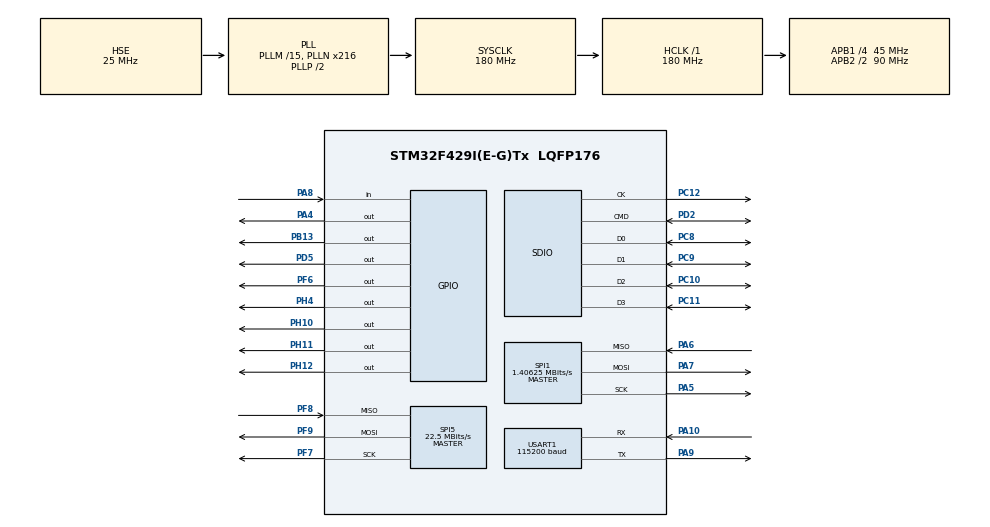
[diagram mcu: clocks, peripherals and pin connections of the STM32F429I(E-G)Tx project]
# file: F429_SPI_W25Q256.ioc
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Dma.Request0=SDIO_RX
Dma.Request1=SDIO_TX
Dma.SDIO_RX.0.Direction=DMA_PERIPH_TO_MEMORY
Dma.SDIO_RX.0.FIFOMode=DMA_FIFOMODE_ENABLE
Dma.SDIO_RX.0.FIFOThreshold=DMA_FIFO_THRESHOLD_FULL
Dma.SDIO_RX.0.Instance=DMA2_Stream3
Dma.SDIO_RX.0.MemBurst=DMA_MBURST_INC4
Dma.SDIO_RX.0.MemDataAlignment=DMA_MDATAALIGN_WORD
Dma.SDIO_RX.0.MemInc=DMA_MINC_ENABLE
Dma.SDIO_RX.0.Mode=DMA_PFCTRL
Dma.SDIO_RX.0.PeriphBurst=DMA_PBURST_INC4
Dma.SDIO_RX.0.PeriphDataAlignment=DMA_PDATAALIGN_WORD
Dma.SDIO_RX.0.PeriphInc=DMA_PINC_DISABLE
Dma.SDIO_RX.0.Priority=DMA_PRIORITY_LOW
Dma.SDIO_TX.1.Direction=DMA_MEMORY_TO_PERIPH
Dma.SDIO_TX.1.FIFOMode=DMA_FIFOMODE_ENABLE
Dma.SDIO_TX.1.FIFOThreshold=DMA_FIFO_THRESHOLD_FULL
Dma.SDIO_TX.1.Instance=DMA2_Stream6
Dma.SDIO_TX.1.MemBurst=DMA_MBURST_INC4
Dma.SDIO_TX.1.MemDataAlignment=DMA_MDATAALIGN_WORD
Dma.SDIO_TX.1.MemInc=DMA_MINC_ENABLE
Dma.SDIO_TX.1.Mode=DMA_PFCTRL
Dma.SDIO_TX.1.PeriphBurst=DMA_PBURST_INC4
Dma.SDIO_TX.1.PeriphDataAlignment=DMA_PDATAALIGN_WORD
Dma.SDIO_TX.1.PeriphInc=DMA_PINC_DISABLE
Dma.SDIO_TX.1.Priority=DMA_PRIORITY_LOW
FATFS.BSP.number=1
FATFS.USE_DMA_CODE_SD=1
FATFS._CODE_PAGE=936
FATFS._MAX_SS=4096
FATFS._USE_LFN=2
FATFS._VOLUMES=2
FATFS0.BSP.STBoard=false
FATFS0.BSP.api=Unknown
FATFS0.BSP.i2caddr=0
FATFS0.BSP.instance=PA8
FATFS0.BSP.ip=GPIO
FATFS0.BSP.mode=Input
FATFS0.BSP.name=Detect_SDIO
FATFS0.BSP.solution=PA8
Mcu.Family=STM32F4
Mcu.Name=STM32F429I(E-G)Tx
Mcu.Package=LQFP176
NVIC.DMA2_Stream3_IRQn=true\:0\:0\:false\:false\:true\:false\:true
NVIC.DMA2_Stream6_IRQn=true\:0\:0\:false\:false\:true\:false\:true
NVIC.PriorityGroup=NVIC_PRIORITYGROUP_4
NVIC.TIM7_IRQn=true\:0\:0\:false\:false\:true\:false\:true
NVIC.TimeBase=TIM7_IRQn
NVIC.TimeBaseIP=TIM7
PA10.Mode=Asynchronous
PA10.Signal=USART1_RX
PA13.Mode=Serial_Wire
PA13.Signal=SYS_JTMS-SWDIO
PA14.Mode=Serial_Wire
PA14.Signal=SYS_JTCK-SWCLK
PA4.Signal=GPIO_Output
PA5.Mode=Full_Duplex_Master
PA5.Signal=SPI1_SCK
PA6.Mode=Full_Duplex_Master
PA6.Signal=SPI1_MISO
PA7.Mode=Full_Duplex_Master
PA7.Signal=SPI1_MOSI
PA8.Signal=GPIO_Input
PA9.Mode=Asynchronous
PA9.Signal=USART1_TX
PB13.Signal=GPIO_Output
PC10.Mode=SD_4_bits_Wide_bus
PC10.Signal=SDIO_D2
PC11.Mode=SD_4_bits_Wide_bus
PC11.Signal=SDIO_D3
PC12.Mode=SD_4_bits_Wide_bus
PC12.Signal=SDIO_CK
PC14/OSC32_IN.Mode=LSE-External-Oscillator
PC14/OSC32_IN.Signal=RCC_OSC32_IN
PC15/OSC32_OUT.Mode=LSE-External-Oscillator
PC15/OSC32_OUT.Signal=RCC_OSC32_OUT
PC8.Mode=SD_4_bits_Wide_bus
PC8.Signal=SDIO_D0
PC9.Mode=SD_4_bits_Wide_bus
PC9.Signal=SDIO_D1
PD2.Mode=SD_4_bits_Wide_bus
PD2.Signal=SDIO_CMD
PD5.Signal=GPIO_Output
PF6.GPIO_PuPd=GPIO_PULLUP
PF6.GPIO_Speed=GPIO_SPEED_FREQ_HIGH
PF6.PinState=GPIO_PIN_SET
PF6.Signal=GPIO_Output
PF7.GPIO_PuPd=GPIO_PULLUP
PF7.Mode=Full_Duplex_Master
PF7.Signal=SPI5_SCK
PF8.GPIO_PuPd=GPIO_PULLUP
PF8.Mode=Full_Duplex_Master
PF8.Signal=SPI5_MISO
PF9.GPIO_PuPd=GPIO_PULLUP
PF9.Mode=Full_Duplex_Master
PF9.Signal=SPI5_MOSI
PH0/OSC_IN.Mode=HSE-External-Oscillator
PH0/OSC_IN.Signal=RCC_OSC_IN
PH1/OSC_OUT.Mode=HSE-External-Oscillator
PH1/OSC_OUT.Signal=RCC_OSC_OUT
PH10.GPIO_ModeDefaultOutputPP=GPIO_MODE_OUTPUT_OD
PH10.GPIO_PuPd=GPIO_PULLUP
PH10.GPIO_Speed=GPIO_SPEED_FREQ_LOW
PH10.Signal=GPIO_Output
PH11.GPIO_ModeDefaultOutputPP=GPIO_MODE_OUTPUT_OD
PH11.GPIO_PuPd=GPIO_PULLUP
PH11.Signal=GPIO_Output
PH12.GPIO_ModeDefaultOutputPP=GPIO_MODE_OUTPUT_OD
PH12.GPIO_PuPd=GPIO_PULLUP
PH12.Signal=GPIO_Output
PH4.Signal=GPIO_Output
ProjectManager.HeapSize=0x2000
ProjectManager.StackSize=0x1000
ProjectManager.TargetToolchain=MDK-ARM V5
RCC.48MHZClocksFreq_Value=45000000
RCC.AHBFreq_Value=180000000
RCC.APB1CLKDivider=RCC_HCLK_DIV4
RCC.APB1Freq_Value=45000000
RCC.APB1TimFreq_Value=90000000
RCC.APB2CLKDivider=RCC_HCLK_DIV2
RCC.APB2Freq_Value=90000000
RCC.APB2TimFreq_Value=180000000
RCC.CortexFreq_Value=180000000
RCC.HCLKFreq_Value=180000000
RCC.HSE_VALUE=25000000
RCC.HSI_VALUE=16000000
RCC.PLLM=15
RCC.PLLN=216
RCC.PLLQ=8
RCC.PLLSAIN=115
RCC.PLLSAIR=5
RCC.PLLSourceVirtual=RCC_PLLSOURCE_HSE
RCC.SYSCLKFreq_VALUE=180000000
RCC.SYSCLKSource=RCC_SYSCLKSOURCE_PLLCLK
RCC.VCOOutputFreq_Value=360000000
SPI1.BaudRatePrescaler=SPI_BAUDRATEPRESCALER_64
SPI1.CLKPhase=SPI_PHASE_2EDGE
SPI1.CLKPolarity=SPI_POLARITY_HIGH
SPI1.CalculateBaudRate=1.40625 MBits/s
SPI1.Direction=SPI_DIRECTION_2LINES
SPI1.Mode=SPI_MODE_MASTER
SPI1.VirtualType=VM_MASTER
SPI5.BaudRatePrescaler=SPI_BAUDRATEPRESCALER_4
SPI5.CLKPhase=SPI_PHASE_2EDGE
SPI5.CLKPolarity=SPI_POLARITY_HIGH
SPI5.CalculateBaudRate=22.5 MBits/s
SPI5.Direction=SPI_DIRECTION_2LINES
SPI5.Mode=SPI_MODE_MASTER
SPI5.VirtualType=VM_MASTER
USART1.BaudRate=115200
USART1.VirtualMode=VM_ASYNC
VP_FATFS_VS_SDIO.Mode=SDIO
VP_SYS_VS_tim7.Mode=TIM7
board=custom

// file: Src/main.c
/* USER CODE BEGIN Header */
/**
  ******************************************************************************
  * @file           : main.c
  * @brief          : Main program body
  ******************************************************************************
  * @attention
  *
  * <h2><center>&copy; Copyright (c) 2021 STMicroelectronics.
  * All rights reserved.</center></h2>
  *
  * This software component is licensed by ST under BSD 3-Clause license,
  * the "License"; You may not use this file except in compliance with the
  * License. You may obtain a copy of the License at:
  *                        opensource.org/licenses/BSD-3-Clause
  *
  ******************************************************************************
  */
#define  _PRINTF_OPEN
/* USER CODE END Header */

#include "main.h"
#include "dma.h"
#include "fatfs.h"
#include "sdio.h"
#include "spi.h"
#include "usart.h"
#include "gpio.h"

/* USER CODE BEGIN PV */
/* Flash Write==== */
#define FILE_NAME           "1.HTT"           //"All_8889_Pic_NOR.bin"
//"1.HTT"
//"1.txt"
//"NOR.bin"
#define WRITE_DATA_ADDRESS   0
/* =============== */
/* Flash Read==== */
#define READ_DATA_ADDRESS   0
#define READ_DATA_NUMBER    100
/* ======== */

uint8_t usbFlag=0;
uint32_t address = 0;
/* USER CODE END PV */

void SystemClock_Config(void);
/* USER CODE BEGIN PFP */
uint32_t FileCopy_SD_To_Flash(char * File_Name, u32 WriteDataAddress);
void Flash_ReadData(uint32_t ReadAddress,uint32_t ReadNum);
void Flash_ChipErase(void);
/* USER CODE END PFP */

int main(void)
{

  /* MCU Configuration--------------------------------------------------------*/

  /* Reset of all peripherals, Initializes the Flash interface and the Systick. */
  HAL_Init();

  /* Configure the system clock */
  SystemClock_Config();

  /* Initialize all configured peripherals */
  MX_GPIO_Init();
  MX_DMA_Init();
  MX_USART1_UART_Init();
  MX_SPI5_Init();
  MX_SDIO_SD_Init();
  MX_FATFS_Init();
  MX_SPI1_Init();
  /* USER CODE BEGIN 2 */
    //启用野火板F429的SDIO为SD_Card模式
    SD_Card_Model();

    HOLD_AND_WD_PULLUP;

    led_white;

    user_printf("W25Q256 Flash测试开始...");

    W25QXX_Init();

    user_printf("id = 0x%X",W25Qxx_Type);
    user_printf("请按 KEY1 进行SD卡到Flash的复制");
    user_printf("请按 KEY2 进行Flash里数据的读取");
    user_printf("请按 KEY1 + KEY2 进行Flash全片擦除");

  /* USER CODE END 2 */

  /* Infinite loop */
    while (1)
    {

    /* USER CODE BEGIN 3 */
        if (HAL_GPIO_ReadPin(GPIOA, GPIO_PIN_0) == GPIO_PIN_SET)
        {
            for(;;)
            {
                if(HAL_GPIO_ReadPin(GPIOA, GPIO_PIN_0) == GPIO_PIN_RESET)
                {
                    usbFlag = 1;
                    break;
                }
                if(HAL_GPIO_ReadPin(GPIOC, GPIO_PIN_13) == GPIO_PIN_SET)
                {
                    for(;;)
                    {
                        if((HAL_GPIO_ReadPin(GPIOA, GPIO_PIN_0) == GPIO_PIN_RESET) && (HAL_GPIO_ReadPin(GPIOC, GPIO_PIN_13) == GPIO_PIN_RESET))
                        {
                            usbFlag = 3;
                            break;
                        }
                    }
                    break;
                }
            }
        }
        else if(HAL_GPIO_ReadPin(GPIOC, GPIO_PIN_13) == GPIO_PIN_SET)
        {
            for(;;)
            {
                if(HAL_GPIO_ReadPin(GPIOC, GPIO_PIN_13) == GPIO_PIN_RESET)
                {
                    usbFlag = 2;
                    break;
                }
                if(HAL_GPIO_ReadPin(GPIOA, GPIO_PIN_0) == GPIO_PIN_SET)
                {
                    for(;;)
                    {
                        if((HAL_GPIO_ReadPin(GPIOA, GPIO_PIN_0) == GPIO_PIN_RESET) && (HAL_GPIO_ReadPin(GPIOC, GPIO_PIN_13) == GPIO_PIN_RESET))
                        {
                            usbFlag = 3;
                            break;
                        }
                    }
                    break;
                }
            }
        }
        if(usbFlag == 1)
        {
            led_blue;
            address = FileCopy_SD_To_Flash(FILE_NAME,WRITE_DATA_ADDRESS);
            if(address == 0)
            {
                led_red;
            }
            else
            {
                led_green;
            }

            usbFlag = 0;
        }
        if(usbFlag == 2)
        {
            led_blue;
            Flash_ReadData(READ_DATA_ADDRESS,READ_DATA_NUMBER);
            led_green;
            usbFlag = 0;
        }
        if(usbFlag == 3)
        {
            led_blue;
            Flash_ChipErase();
            led_green;
            usbFlag = 0;
        }
    }
  /* USER CODE END 3 */
}

void SystemClock_Config(void)
{
  RCC_OscInitTypeDef RCC_OscInitStruct = {0};
  RCC_ClkInitTypeDef RCC_ClkInitStruct = {0};

  /** Configure the main internal regulator output voltage
  */
  __HAL_RCC_PWR_CLK_ENABLE();
  __HAL_PWR_VOLTAGESCALING_CONFIG(PWR_REGULATOR_VOLTAGE_SCALE1);
  /** Initializes the CPU, AHB and APB busses clocks
  */
  RCC_OscInitStruct.OscillatorType = RCC_OSCILLATORTYPE_HSE;
  RCC_OscInitStruct.HSEState = RCC_HSE_ON;
  RCC_OscInitStruct.PLL.PLLState = RCC_PLL_ON;
  RCC_OscInitStruct.PLL.PLLSource = RCC_PLLSOURCE_HSE;
  RCC_OscInitStruct.PLL.PLLM = 15;
  RCC_OscInitStruct.PLL.PLLN = 216;
  RCC_OscInitStruct.PLL.PLLP = RCC_PLLP_DIV2;
  RCC_OscInitStruct.PLL.PLLQ = 8;
  if (HAL_RCC_OscConfig(&RCC_OscInitStruct) != HAL_OK)
  {
    Error_Handler();
  }
  /** Activate the Over-Drive mode
  */
  if (HAL_PWREx_EnableOverDrive() != HAL_OK)
  {
    Error_Handler();
  }
  /** Initializes the CPU, AHB and APB busses clocks
  */
  RCC_ClkInitStruct.ClockType = RCC_CLOCKTYPE_HCLK|RCC_CLOCKTYPE_SYSCLK
                              |RCC_CLOCKTYPE_PCLK1|RCC_CLOCKTYPE_PCLK2;
  RCC_ClkInitStruct.SYSCLKSource = RCC_SYSCLKSOURCE_PLLCLK;
  RCC_ClkInitStruct.AHBCLKDivider = RCC_SYSCLK_DIV1;
  RCC_ClkInitStruct.APB1CLKDivider = RCC_HCLK_DIV4;
  RCC_ClkInitStruct.APB2CLKDivider = RCC_HCLK_DIV2;

  if (HAL_RCC_ClockConfig(&RCC_ClkInitStruct, FLASH_LATENCY_5) != HAL_OK)
  {
    Error_Handler();
  }
}

/* USER CODE BEGIN 4 */
/**
 * 函数名称: FileCopy_SD_To_Flash
 * 功能描述: 从SD卡中复制一个文件到Flash中，本函数带校验
 * 参数说明: File_Name: [输入] 要复制的文件名（全名），要带文件格式 例：XXXX.XXX
 * 返回说明: 0:错误，other:为Flash已经用了的地址
 *           要写其他文件必须从这个地址开始写，不然会把前面的刷掉
 * 创建人员: CY
 * 创建日期: 2021-03-01
 *------------------*
 * 更多描述:
 *
 *------------------*
 */
uint32_t FileCopy_SD_To_Flash(char * File_Name, u32 WriteDataAddress)
{

    int WRITE_SIZE = 4096 ;
    FRESULT res;

    //在写入SD卡中
    res = f_mount(&SDFatFS, SDPath, 1);
    if (res != FR_OK)
    {
        user_printf("error ：f_mount_SD: res = %d",res);
        return 0;
    }
    //sd 文件拼接
    char* user_sd_path = (char*)malloc(sizeof(SDPath)+sizeof(File_Name));
    if(user_sd_path==NULL)
    {
        user_printf("error ：user_sd_path未申请成功!");
        f_mount(NULL,SDPath,1);  /* 不再使用文件系统，取消挂载文件系统 */
        return 0;
    }
    memset(user_sd_path,0,sizeof(SDPath)+sizeof(File_Name));
    memcpy(user_sd_path,SDPath,sizeof(SDPath));
    strcat(user_sd_path,File_Name);

    res = f_open(&SDFile, user_sd_path, FA_READ);
    if (res != FR_OK)
    {
        user_printf("error ：f_open_SD: res = %d",res);
        f_close(&SDFile);  /* 不再读写，关闭文件 */
        if(user_sd_path!=NULL)free(user_sd_path); //释放堆空间
        f_mount(NULL,SDPath,1);  /* 不再使用文件系统，取消挂载文件系统 */
        return 0;
    }
    //确认文件大小
    uint32_t file_size = f_size(&SDFile);
    user_printf("file_size = %d",file_size);
    if(file_size == 0)
    {
        f_close(&SDFile);
        if(user_sd_path!=NULL)free(user_sd_path); //释放堆空间
        f_mount(NULL,SDPath,1);  /* 不再使用文件系统，取消挂载文件系统 */
        return 0;
    }
    //拷贝文件-------------------
    user_printf("SPI Flash正在写入文件...");
    uint32_t byteswritten = 0;
    uint32_t Address = WriteDataAddress;

    uint8_t* read_buffer = (uint8_t*)malloc(WRITE_SIZE);
    if(read_buffer==NULL)
    {
        user_printf("error ：read_buffer未申请成功!");
        f_close(&SDFile);  /* 不再读写，关闭文件 */
        if(user_sd_path!=NULL)free(user_sd_path); //释放堆空间
        f_mount(NULL,SDPath,1);  /* 不再使用文件系统，取消挂载文件系统 */
        return 0;
    }
    memset(read_buffer,0,WRITE_SIZE);

    for(;;)
    {
        res = f_read(&SDFile,read_buffer,WRITE_SIZE,(void*)&byteswritten);
        if(res != FR_OK )
        {
            user_printf("error ：f_read_SD: res = %d",res);
            f_close(&SDFile);  /* 不再读写，关闭文件 */
            if(user_sd_path!=NULL)free(user_sd_path); //释放堆空间
            if(read_buffer!=NULL)free(read_buffer);
            f_mount(NULL,SDPath,1);  /* 不再使用文件系统，取消挂载文件系统 */
            return 0;
        }
        W25QXX_Write(read_buffer,Address,byteswritten);		//往SPI Flash中,写入BUFF_SIZE长度的数据
        memset(read_buffer,0,WRITE_SIZE);
        Address += byteswritten;  //地址的自增
        if(byteswritten != WRITE_SIZE)
        {
            break;
        }
    }
    //拷贝结束-------------------
    if(Address != file_size)
    {
        user_printf("SPI Flash写入失败!!!!!");
        f_close(&SDFile);  /* 不再读写，关闭文件 */
        if(user_sd_path!=NULL)free(user_sd_path); //释放堆空间
        if(read_buffer!=NULL)free(read_buffer);
        f_mount(NULL,SDPath,1);  /* 不再使用文件系统，取消挂载文件系统 */
        return 0;
    }
    else
    {
        user_printf("SPI Flash写入完成,开始校验...");
        //---------------------------
        if(read_buffer!=NULL)free(read_buffer);  //释放堆空间
        //校验文件-------------------
        user_printf("SPI Flash正在校验文件...");
        uint8_t txbuff[1] = {0};
        uint8_t rxbuff[1] = {0};
        uint32_t Verify_Address = 0;

        f_rewind(&SDFile);

        for(;;)
        {
            res = f_read(&SDFile,txbuff,1,(void*)&byteswritten);
            if(res != FR_OK)
            {
                user_printf("error ：f_read_SD: res = %d",res);
                f_close(&SDFile);  /* 不再读写，关闭文件 */
                if(user_sd_path!=NULL)free(user_sd_path); //释放堆空间
                f_mount(NULL,SDPath,1);  /* 不再使用文件系统，取消挂载文件系统 */
                return 0;
            }
            else if(byteswritten != 1)
            {
                break;
            }
            W25QXX_Read(rxbuff,Verify_Address,byteswritten);
            if(txbuff[0] == rxbuff[0])
            {
                txbuff[0] = 0;
                rxbuff[0] = 0;
                Verify_Address += byteswritten;  //地址的自增
            }
            else
            {
                user_printf("SPI Flash文件与源文件不同!!!");
                f_close(&SDFile);  /* 不再读写，关闭文件 */
                if(user_sd_path!=NULL)free(user_sd_path); //释放堆空间
                f_mount(NULL,SDPath,1);  /* 不再使用文件系统，取消挂载文件系统 */
                return 0;
            }
        }
        user_printf("SPI Flash校验通过!!!");
        //校验结束-------------------
        f_close(&SDFile);  /* 不再读写，关闭文件 */
        if(user_sd_path!=NULL)free(user_sd_path); //释放堆空间
        f_mount(NULL,SDPath,1);  /* 不再使用文件系统，取消挂载文件系统 */

        user_printf("接下来的地址是 %d",Address);

        return Address;
    }

}

/**
 * 函数名称: Flash_ChipErase
 * 功能描述: 进行全片擦除
 * 参数说明: None
 * 返回说明: None
 * 创建人员: CY
 * 创建日期: 2021-03-22
 * 更多描述:
 *
 */
void Flash_ChipErase(void)
{
    user_printf("开始进行芯片擦除...");
    W25QXX_ChipErase();
    user_printf("芯片擦除结束!!!");
}

/**
 * 函数名称: Flash_ReadData
 * 功能描述:
 * 参数说明: ReadAddress: [输入] flash读取起始地址
 *			     ReadNum: [输入] 读出的数据长度
 * 返回说明: None
 * 创建人员: CY
 * 创建日期: 2021-03-01
 *------------------*
 * 更多描述:
 *
 *------------------*
 */
void Flash_ReadData(uint32_t ReadAddress,uint32_t ReadNum)
{

    if(ReadNum > 200)
    {
        ReadNum = 200;
    }
    uint8_t* rxbuff = (uint8_t*)malloc(ReadNum);
    memset(rxbuff,0,ReadNum);

    W25QXX_Read(rxbuff,ReadAddress,ReadNum);

    user_printf("读出的数据为:");
    user_printf("%s",rxbuff);
    user_printf("16进制的数组为:");
    for(uint32_t i=0; i<ReadNum; i++)
    {
        printf("rxbuff[%d] = 0x%02X \n",i,rxbuff[i]);
    }

    free(rxbuff);

}
/* USER CODE END 4 */

 /**
  * @brief  Period elapsed callback in non blocking mode
  * @note   This function is called  when TIM7 interrupt took place, inside
  * HAL_TIM_IRQHandler(). It makes a direct call to HAL_IncTick() to increment
  * a global variable "uwTick" used as application time base.
  * @param  htim : TIM handle
  * @retval None
  */
void HAL_TIM_PeriodElapsedCallback(TIM_HandleTypeDef *htim)
{
  if (htim->Instance == TIM7) {
    HAL_IncTick();
  }
}

void Error_Handler(void)
{
}

/************************ (C) COPYRIGHT STMicroelectronics *****END OF FILE****/
